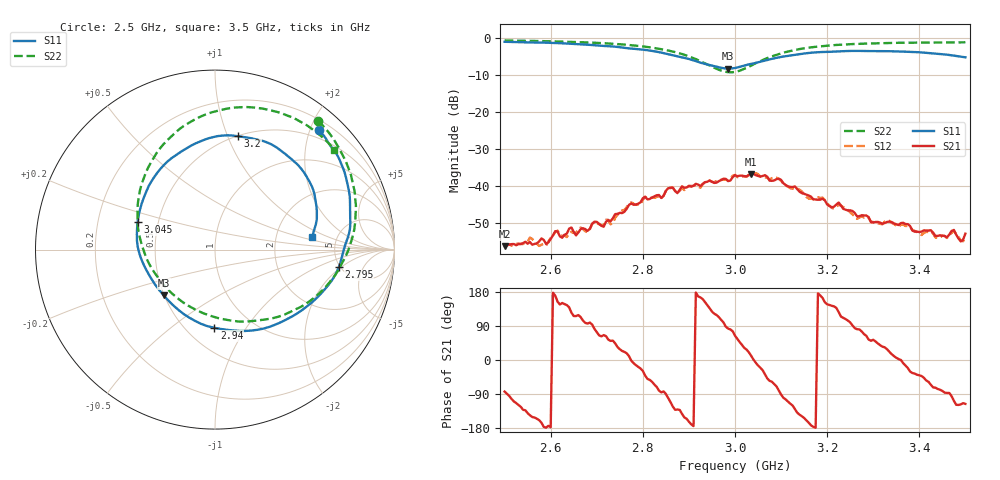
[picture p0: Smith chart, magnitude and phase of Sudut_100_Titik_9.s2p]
# Hz S RI R 50
! CMT, C1220, 16058040, 17.2.0/1
! Date: 15/08/2018 09:47:19
! Data: Format (Calibration Info)
! Freq  S11: Re/Im (F2)  S21: Re/Im (F2)  S12: Re/Im (F2)  S22: Re/Im (F2)
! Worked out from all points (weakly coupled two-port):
!   201 points, 2.5 GHz to 3.5 GHz, reference 50 ohm
!   highest |S21| = -36.79 dB at 3.035 GHz (marker M1); lowest = -56.3 dB at 2.5 GHz (marker M2)
!   lowest |S11| = -8.3 dB at 2.985 GHz (marker M3), VSWR 2.24, Z = 24.8 - j14.8 ohm
!   |S11| at or under -10 dB: nowhere
!   |S22| runs from -9.3 to -0.7 dB; largest |S21 - S12| = 0.0012
!   S11 on the Smith chart (normalised r, x): 2.5 GHz: 0.35, +2.14; 2.795 GHz: 4.85, -1.86; 2.94 GHz: 0.68, -0.73; 3.045 GHz: 0.38, +0.15; 3.2 GHz: 0.51, +1.09; 3.5 GHz: 3.25, +0.64
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2.5e9  0.5781 0.6671  0.000178 -0.00153  0.000164 -0.00164  0.5756 0.7174
2.555e9  0.6426 0.5789  -0.00145 -0.000981  -0.0016 -0.00121  0.6367 0.6487
2.59e9  0.6874 0.5144  -0.00165 -4.53e-05  -0.00155 -0.000194  0.6728 0.5956
2.615e9  0.7093 0.4641  -0.00216 0.00107  -0.00223 0.0011  0.6971 0.5533
2.67e9  0.7471 0.3224  -0.00066 0.0026  -0.000485 0.00257  0.7476 0.4443
2.715e9  0.7528 0.1872  0.00116 0.00256  0.0012 0.00272  0.7759 0.3334
2.77e9  0.7183 0.00154  0.00547 0.000962  0.00572 0.000837  0.782 0.1659
2.795e9  0.6894 -0.0988  0.00555 -0.0023  0.00524 -0.00222  0.7677 0.0761
2.835e9  0.5909 -0.2449  0.00122 -0.00744  0.00138 -0.00715  0.7049 -0.0803
2.94e9  -0.00375 -0.4355  -0.00933 0.00653  -0.00946 0.00634  0.1737 -0.4009
2.985e9  -0.2865 -0.2545  0.00144 0.0115  0.000972 0.0118  -0.1794 -0.2931
3e9  -0.3577 -0.1571  0.00607 0.0126  0.00684 0.0123  -0.2793 -0.2037
3.035e9  -0.4353 0.0858  0.0142 0.00284  0.0139 0.00319  -0.4166 0.058
3.045e9  -0.431 0.1553  0.0139 -0.00172  0.0147 -0.00161  -0.4311 0.1394
3.105e9  -0.2635 0.4919  -0.00183 -0.0107  -0.00205 -0.0105  -0.325 0.5385
3.17e9  0.0133 0.632  -0.00658 -0.000404  -0.00653 -0.000949  -0.0697 0.7456
3.2e9  0.1289 0.6315  -0.00471 0.00306  -0.00471 0.00335  0.0436 0.7802
3.335e9  0.4815 0.4491  0.00306 0.00121  0.00318 0.00111  0.4181 0.7414
3.44e9  0.5674 0.2169  0.000494 -0.00206  0.000438 -0.00193  0.5944 0.6299
3.475e9  0.5587 0.1303  -0.000767 -0.00243  -0.000668 -0.00239  0.637 0.5889
3.49e9  0.548 0.0926  -0.000813 -0.00158  -0.000902 -0.00159  0.6542 0.5701
3.5e9  0.5401 0.0691  -0.000987 -0.00204  -0.00105 -0.00177  0.6654 0.5575
